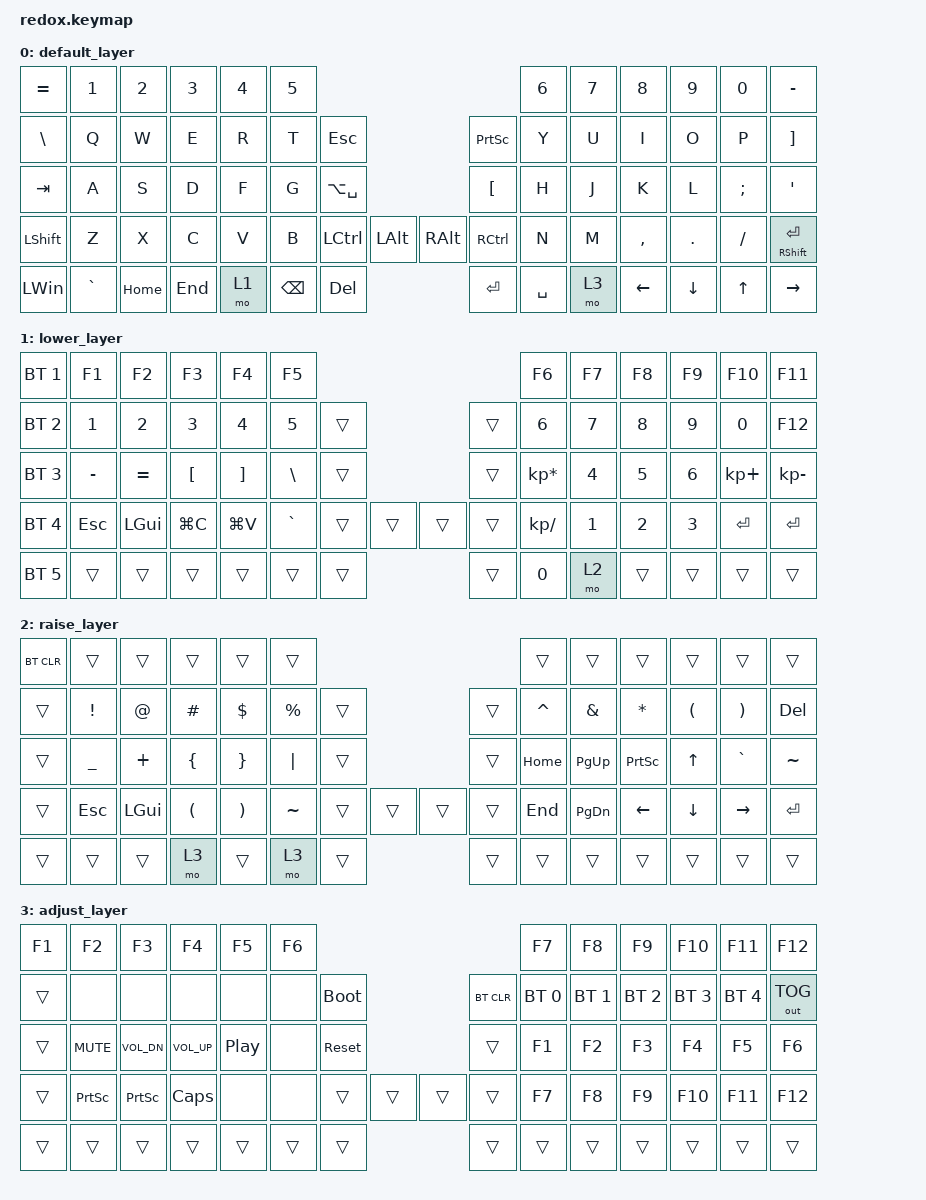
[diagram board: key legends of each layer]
/*
 * Copyright (c) 2021 The ZMK Contributors
 *
 * SPDX-License-Identifier: MIT
 */

#include <behaviors.dtsi>
#include <dt-bindings/zmk/keys.h>
#include <dt-bindings/zmk/bt.h>
#include <dt-bindings/zmk/ext_power.h>
#include <dt-bindings/zmk/outputs.h>

/ {
    keymap {
        compatible =  "zmk,keymap" ;

        default_layer {
// --------------------------------------------------------------------------------------------------------------------------------
// |  =    |  1  |  2  |   3   |  4  |  5  |                   ---                |  6    |  7    |  8    |  9   | 0  |     -     |
// |  \    |  Q  |  W  |   E   |  R  |  T  | ESC   |           ---        | PRINT |  Y    |  U    |  I    |  O   | P  |     ]     |
// | TAB   |  A  |  S  |   D   |  F  |  G  | A SPC |           ---        |  [    |  H    |  J    |  K    |  L   | ;  |     '     |
// | SHIFT |  Z  |  X  |   C   |  V  |  B  | LCTRL | LALT    | --- | RALT | RCTL  |  N    |  M    |  ,    |  .   | /  |   SHFT    |
// | LWin  | `   | HOM |  END  |    MO(1)  | BKSP  | DEL     | --- | RET  | SPACE |     MO(3)     | LEFT  | DOWN | UP |   RIGHT   |
            bindings = <
   &kp EQUAL &kp N1   &kp N2   &kp N3 &kp N4   &kp N5                                        &kp N6    &kp N7 &kp N8    &kp N9   &kp N0   &kp MINUS
   &kp BSLH  &kp Q    &kp W    &kp E  &kp R    &kp T  &kp ESC                      &kp PSCRN &kp Y     &kp U  &kp I     &kp O    &kp P    &kp RBKT
   &kp TAB   &kp A    &kp S    &kp D  &kp F    &kp G  &kp LA(SPACE)                &kp LBKT  &kp H     &kp J  &kp K     &kp L    &kp SEMI &kp SQT
   &kp LSHFT &kp Z    &kp X    &kp C  &kp V    &kp B  &kp LCTRL &kp LALT  &kp RALT &kp RCTRL &kp N     &kp M  &kp COMMA &kp DOT  &kp FSLH &mt RSHFT RET
   &kp LWIN &kp GRAVE &kp HOME &kp END     &mo 1      &kp BSPC  &kp DEL   &kp RET  &kp SPACE       &mo 3      &kp LEFT  &kp DOWN &kp UP   &kp RIGHT
            >;

        };
        
        lower_layer {
// --------------------------------------------------------------------------------------------------------------------------
// | SEL   |  F1 |  F2 |   F3  |   F4  |  F5 |                   ---              |  F6 |  F7 |   F8 |  F9  |  F0 |  DEL  |
// | NXT   |  1  |  2  |   3   |   4   |  5  |   (   |           ---        |  )  |  6  |  7  |   8  |  9   |  0  |  DEL  |
// | PRV   |  -  |  =  |   [   |   ]   |  \  |   [   |           ---        |  ]  |  *  |  4  |   5  |  6   |  +  |   -   |
// | SHIFT | ESC | GUI | COPY  | PASTE |     | PG_UP | PG_DOWN | --- | HOME | END |  \  |  1  |   2  |  3   | RET |  RET  |
// | CRTL  | ALT | GUI | LOWER |     GUI     | LOWER | SPACE   | --- | DEL  |  0  |    RAISE  | LEFT | DOWN | UP  | RIGHT |
            bindings = <
   &bt BT_SEL 1 &kp F1    &kp F2    &kp F3    &kp F4    &kp F5                                &kp F6          &kp F7    &kp F8    &kp F9    &kp F10     &kp F11
   &bt BT_SEL 2 &kp N1    &kp N2    &kp N3    &kp N4    &kp N5    &trans               &trans &kp N6          &kp N7    &kp N8    &kp N9    &kp N0      &kp F12
   &bt BT_SEL 3 &kp MINUS &kp EQUAL &kp LBKT  &kp RBKT  &kp BSLH  &trans               &trans &kp KP_MULTIPLY &kp N4    &kp N5    &kp N6    &kp KP_PLUS &kp KP_MINUS
   &bt BT_SEL 4 &kp ESC   &kp LGUI  &kp LG(C) &kp LG(V) &kp GRAVE &trans &trans &trans &trans &kp KP_DIVIDE   &kp N1    &kp N2    &kp N3    &kp RET     &kp RET
   &bt BT_SEL 5 &trans    &trans    &trans          &trans        &trans &trans &trans &kp N0          &mo 2            &trans    &trans    &trans      &trans
            >;
        };

        raise_layer {
// ----------------------------------------------------------------------------------------------------------------------------
// | ESC   |  1  |  2  |   3   |  4  |  5  |                   ---                |  6   |  7   |  8   |  9   |  0    |  DEL  |
// | ESC   |  !  |  @  |   #   |  $  |  %  |   (   |           ---        |  )    |  ^   |  &   |  *   |  (   |  )    |  DEL  |
// | CTRL  |  _  |  +  |   {   |  }  | "|" |   [   |           ---        |  ]    | HOME | PGUP | PRSC | UP   |  `    |   ~   |
// | SHIFT | ESC | GUI |   (   |  )  |     | PG_UP | PG_DOWN | --- | HOME | END   | END  | PGDN | LEFT | DOWN | RIGHT |  RET  |
// | CRTL  | ALT | GUI | LOWER |    GUI    | LOWER | SPACE   | --- | DEL  | SPACE |    RAISE    | LEFT | DOWN | UP    | RIGHT |
            bindings = <
   &bt BT_CLR &trans    &trans   &trans   &trans   &trans                                &trans    &trans    &trans    &trans   &trans    &trans
   &trans     &kp EXCL  &kp AT   &kp HASH &kp DLLR &kp PRCNT &trans               &trans &kp CARET &kp AMPS  &kp ASTRK &kp LPAR &kp RPAR  &kp DEL
   &trans     &kp UNDER &kp PLUS &kp LBRC &kp RBRC &kp PIPE  &trans               &trans &kp HOME  &kp PG_UP &kp PSCRN &kp UP   &kp GRAVE &kp TILDE
   &trans     &kp ESC   &kp LGUI &kp LPAR &kp RPAR &kp TILDE &trans &trans &trans &trans &kp END   &kp PG_DN &kp LEFT  &kp DOWN &kp RIGHT &kp RET
   &trans     &trans    &trans   &mo 3         &trans        &mo 3  &trans &trans &trans        &trans       &trans    &trans   &trans    &trans
            >;
        };
        
        adjust_layer {
// -----------------------------------------------------------------------------------------
// |  F1   |  F2   |    F3    |    F4     |     F5     | F6 |                   ---                | F7  | F8  |  F9  |  F10 | F11 | F12        |
// | TAB   |       |          |           |            |    | BOOTL |           ---        |  )    | BT1 | BT2 |  BT3 |  BT4 | BT5 | OUTPUT TGL |
// | CTRL  | MUTE  |  Vol Dn  |  Vol Up   | Play/Pause |    | RESET |           ---        |  ]    | F1  | F2  |  F3  |  F4  | F5  | F6         |
// | SHIFT | PSCRN |  PSCRN   |   CAPS    |            |    | PG_UP | PG_DOWN | --- | HOME | END   | F7  | F8  |  F9  |  F10 | F11 | F12        |
// | CRTL  | ALT   |  GUI     |   LOWER   |      GUI        | LOWER | SPACE   | --- | DEL  | SPACE |   RAISE   | LEFT | DOWN | UP  |   RIGHT    |
                        bindings = <
   &kp F1  &kp F2     &kp F3       &kp F4       &kp F5           &kp F6                                 &kp F7       &kp F8       &kp F9       &kp F10      &kp F11       &kp F12
   &trans  &none      &none        &none        &none            &none  &bootloader          &bt BT_CLR &bt BT_SEL 0 &bt BT_SEL 1 &bt BT_SEL 2 &bt BT_SEL 3 &bt BT_SEL 4  &out OUT_TOG
   &trans  &kp K_MUTE &kp C_VOL_DN &kp C_VOL_UP &kp C_PLAY_PAUSE &none  &sys_reset           &trans     &kp F1       &kp F2       &kp F3       &kp F4       &kp F5        &kp F6
   &trans  &kp PSCRN  &kp PSCRN    &kp CLCK     &none            &none  &trans &trans &trans &trans     &kp F7       &kp F8       &kp F9       &kp F10      &kp F11       &kp F12
   &trans  &trans     &trans       &trans              &trans           &trans &trans &trans &trans          &trans           &trans       &trans       &trans        &trans
            >;
        };
    };
};
